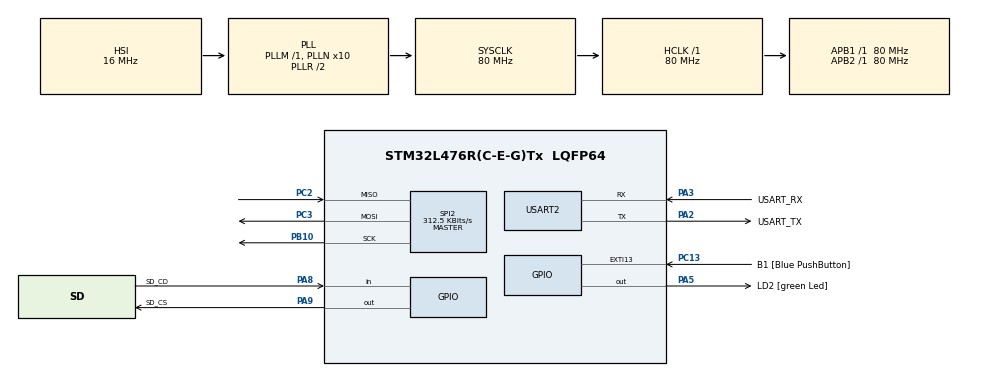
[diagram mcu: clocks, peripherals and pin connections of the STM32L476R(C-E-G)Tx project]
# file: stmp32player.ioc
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Mcu.Family=STM32L4
Mcu.Name=STM32L476R(C-E-G)Tx
Mcu.Package=LQFP64
NVIC.PriorityGroup=NVIC_PRIORITYGROUP_4
PA13\ (JTMS-SWDIO).GPIO_Label=TMS
PA13\ (JTMS-SWDIO).Mode=Serial_Wire
PA13\ (JTMS-SWDIO).Signal=SYS_JTMS-SWDIO
PA14\ (JTCK-SWCLK).GPIO_Label=TCK
PA14\ (JTCK-SWCLK).Mode=Serial_Wire
PA14\ (JTCK-SWCLK).Signal=SYS_JTCK-SWCLK
PA2.GPIO_Label=USART_TX
PA2.GPIO_Mode=GPIO_MODE_AF_PP
PA2.GPIO_PuPd=GPIO_NOPULL
PA2.GPIO_Speed=GPIO_SPEED_FREQ_VERY_HIGH
PA2.Mode=Asynchronous
PA2.Signal=USART2_TX
PA3.GPIO_Label=USART_RX
PA3.GPIO_Mode=GPIO_MODE_AF_PP
PA3.GPIO_PuPd=GPIO_NOPULL
PA3.GPIO_Speed=GPIO_SPEED_FREQ_VERY_HIGH
PA3.Mode=Asynchronous
PA3.Signal=USART2_RX
PA5.GPIO_Label=LD2 [green Led]
PA5.GPIO_ModeDefaultOutputPP=GPIO_MODE_OUTPUT_PP
PA5.GPIO_PuPd=GPIO_NOPULL
PA5.GPIO_Speed=GPIO_SPEED_FREQ_LOW
PA5.Signal=GPIO_Output
PA8.GPIO_Label=SD_CD
PA8.Signal=GPIO_Input
PA9.GPIO_Label=SD_CS
PA9.PinState=GPIO_PIN_SET
PA9.Signal=GPIO_Output
PB10.Mode=Full_Duplex_Master
PB10.Signal=SPI2_SCK
PB3\ (JTDO-TRACESWO).GPIO_Label=SWO
PB3\ (JTDO-TRACESWO).Signal=SYS_JTDO-SWO
PC13.GPIO_Label=B1 [Blue PushButton]
PC13.GPIO_ModeDefaultEXTI=GPIO_MODE_IT_FALLING
PC13.GPIO_PuPd=GPIO_NOPULL
PC13.Signal=GPXTI13
PC14-OSC32_IN\ (PC14).Mode=LSE-External-Oscillator
PC14-OSC32_IN\ (PC14).Signal=RCC_OSC32_IN
PC15-OSC32_OUT\ (PC15).Mode=LSE-External-Oscillator
PC15-OSC32_OUT\ (PC15).Signal=RCC_OSC32_OUT
PC2.Mode=Full_Duplex_Master
PC2.Signal=SPI2_MISO
PC3.Mode=Full_Duplex_Master
PC3.Signal=SPI2_MOSI
PH0-OSC_IN\ (PH0).Signal=RCC_OSC_IN
PH1-OSC_OUT\ (PH1).Signal=RCC_OSC_OUT
ProjectManager.HeapSize=0x200
ProjectManager.StackSize=0x400
ProjectManager.TargetToolchain=STM32CubeIDE
RCC.ADCFreq_Value=96000000
RCC.AHBFreq_Value=80000000
RCC.APB1Freq_Value=80000000
RCC.APB1TimFreq_Value=80000000
RCC.APB2Freq_Value=80000000
RCC.APB2TimFreq_Value=80000000
RCC.CortexFreq_Value=80000000
RCC.HCLKFreq_Value=80000000
RCC.HSE_VALUE=8000000
RCC.HSI_VALUE=16000000
RCC.MSI_VALUE=4000000
RCC.PLLN=10
RCC.PLLSAI1N=12
RCC.PLLSAI1Q=RCC_PLLQ_DIV4
RCC.PLLSourceVirtual=RCC_PLLSOURCE_HSI
RCC.PREFETCH_ENABLE=1
RCC.SYSCLKFreq_VALUE=80000000
RCC.SYSCLKSource=RCC_SYSCLKSOURCE_PLLCLK
RCC.USBFreq_Value=48000000
RCC.VCOOutputFreq_Value=160000000
SPI2.BaudRatePrescaler=SPI_BAUDRATEPRESCALER_256
SPI2.CalculateBaudRate=312.5 KBits/s
SPI2.DataSize=SPI_DATASIZE_8BIT
SPI2.Direction=SPI_DIRECTION_2LINES
SPI2.Mode=SPI_MODE_MASTER
SPI2.VirtualType=VM_MASTER
USART2.VirtualMode-Asynchronous=VM_ASYNC
VP_FATFS_VS_Generic.Mode=User_defined
board=NUCLEO-L476RG

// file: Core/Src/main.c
/* USER CODE BEGIN Header */
/**
  ******************************************************************************
  * @file           : main.c
  * @brief          : Main program body
  ******************************************************************************
  * @attention
  *
  * Copyright (c) 2026 STMicroelectronics.
  * All rights reserved.
  *
  * This software is licensed under terms that can be found in the LICENSE file
  * in the root directory of this software component.
  * If no LICENSE file comes with this software, it is provided AS-IS.
  *
  ******************************************************************************
  */
/* USER CODE END Header */
#include "main.h"
#include "fatfs.h"

/* USER CODE BEGIN Includes */
#include <string.h>
#include <stdio.h>
#include "utils.h"
#include "filesystem_handler.h"
/* USER CODE END Includes */

SPI_HandleTypeDef hspi2;

UART_HandleTypeDef huart2;

void SystemClock_Config(void);
static void MX_GPIO_Init(void);
static void MX_USART2_UART_Init(void);
static void MX_SPI2_Init(void);

/* USER CODE BEGIN 0 */
/* USER CODE BEGIN 2 */

/* USER CODE END 2 */
/* USER CODE END 0 */

int main(void)
{

  /* MCU Configuration--------------------------------------------------------*/

  /* Reset of all peripherals, Initializes the Flash interface and the Systick. */
  HAL_Init();

  /* Configure the system clock */
  SystemClock_Config();

  /* Initialize all configured peripherals */
  MX_GPIO_Init();
  MX_USART2_UART_Init();
  MX_FATFS_Init();
  MX_SPI2_Init();
  /* USER CODE BEGIN 2 */
  utils_init(&huart2);
  filesystem_handler_init();

  uart_printf("Lets mount some filesystem\r\n");
  // try to mount sd card and list files
  sd_ls();
  sd_head("test.txt", 128, false);
  sd_head("test.txt", 128, true);
  sd_head("metal_2.wav", 512, true);
  wav_metadata jazz_4_metadata;
  int read_success = get_wav_metadata("jazz_4.wav", &jazz_4_metadata);
  if (read_success == 0){
    dump_wav_metadata(&jazz_4_metadata);
  }

  /* USER CODE END 2 */

  /* Infinite loop */
  while (1)
  {

  }
}

void SystemClock_Config(void)
{
  RCC_OscInitTypeDef RCC_OscInitStruct = {0};
  RCC_ClkInitTypeDef RCC_ClkInitStruct = {0};

  /** Configure the main internal regulator output voltage
  */
  if (HAL_PWREx_ControlVoltageScaling(PWR_REGULATOR_VOLTAGE_SCALE1) != HAL_OK)
  {
    Error_Handler();
  }

  /** Initializes the RCC Oscillators according to the specified parameters
  * in the RCC_OscInitTypeDef structure.
  */
  RCC_OscInitStruct.OscillatorType = RCC_OSCILLATORTYPE_HSI;
  RCC_OscInitStruct.HSIState = RCC_HSI_ON;
  RCC_OscInitStruct.HSICalibrationValue = RCC_HSICALIBRATION_DEFAULT;
  RCC_OscInitStruct.PLL.PLLState = RCC_PLL_ON;
  RCC_OscInitStruct.PLL.PLLSource = RCC_PLLSOURCE_HSI;
  RCC_OscInitStruct.PLL.PLLM = 1;
  RCC_OscInitStruct.PLL.PLLN = 10;
  RCC_OscInitStruct.PLL.PLLP = RCC_PLLP_DIV7;
  RCC_OscInitStruct.PLL.PLLQ = RCC_PLLQ_DIV2;
  RCC_OscInitStruct.PLL.PLLR = RCC_PLLR_DIV2;
  if (HAL_RCC_OscConfig(&RCC_OscInitStruct) != HAL_OK)
  {
    Error_Handler();
  }

  /** Initializes the CPU, AHB and APB buses clocks
  */
  RCC_ClkInitStruct.ClockType = RCC_CLOCKTYPE_HCLK|RCC_CLOCKTYPE_SYSCLK
                              |RCC_CLOCKTYPE_PCLK1|RCC_CLOCKTYPE_PCLK2;
  RCC_ClkInitStruct.SYSCLKSource = RCC_SYSCLKSOURCE_PLLCLK;
  RCC_ClkInitStruct.AHBCLKDivider = RCC_SYSCLK_DIV1;
  RCC_ClkInitStruct.APB1CLKDivider = RCC_HCLK_DIV1;
  RCC_ClkInitStruct.APB2CLKDivider = RCC_HCLK_DIV1;

  if (HAL_RCC_ClockConfig(&RCC_ClkInitStruct, FLASH_LATENCY_4) != HAL_OK)
  {
    Error_Handler();
  }
}

static void MX_SPI2_Init(void)
{

  /* SPI2 parameter configuration*/
  hspi2.Instance = SPI2;
  hspi2.Init.Mode = SPI_MODE_MASTER;
  hspi2.Init.Direction = SPI_DIRECTION_2LINES;
  hspi2.Init.DataSize = SPI_DATASIZE_8BIT;
  hspi2.Init.CLKPolarity = SPI_POLARITY_LOW;
  hspi2.Init.CLKPhase = SPI_PHASE_1EDGE;
  hspi2.Init.NSS = SPI_NSS_SOFT;
  hspi2.Init.BaudRatePrescaler = SPI_BAUDRATEPRESCALER_256;
  hspi2.Init.FirstBit = SPI_FIRSTBIT_MSB;
  hspi2.Init.TIMode = SPI_TIMODE_DISABLE;
  hspi2.Init.CRCCalculation = SPI_CRCCALCULATION_DISABLE;
  hspi2.Init.CRCPolynomial = 7;
  hspi2.Init.CRCLength = SPI_CRC_LENGTH_DATASIZE;
  hspi2.Init.NSSPMode = SPI_NSS_PULSE_ENABLE;
  if (HAL_SPI_Init(&hspi2) != HAL_OK)
  {
    Error_Handler();
  }

}

static void MX_USART2_UART_Init(void)
{

  huart2.Instance = USART2;
  huart2.Init.BaudRate = 115200;
  huart2.Init.WordLength = UART_WORDLENGTH_8B;
  huart2.Init.StopBits = UART_STOPBITS_1;
  huart2.Init.Parity = UART_PARITY_NONE;
  huart2.Init.Mode = UART_MODE_TX_RX;
  huart2.Init.HwFlowCtl = UART_HWCONTROL_NONE;
  huart2.Init.OverSampling = UART_OVERSAMPLING_16;
  huart2.Init.OneBitSampling = UART_ONE_BIT_SAMPLE_DISABLE;
  huart2.AdvancedInit.AdvFeatureInit = UART_ADVFEATURE_NO_INIT;
  if (HAL_UART_Init(&huart2) != HAL_OK)
  {
    Error_Handler();
  }

}

static void MX_GPIO_Init(void)
{
  GPIO_InitTypeDef GPIO_InitStruct = {0};

  /* GPIO Ports Clock Enable */
  __HAL_RCC_GPIOC_CLK_ENABLE();
  __HAL_RCC_GPIOH_CLK_ENABLE();
  __HAL_RCC_GPIOA_CLK_ENABLE();
  __HAL_RCC_GPIOB_CLK_ENABLE();

  /*Configure GPIO pin Output Level */
  HAL_GPIO_WritePin(LD2_GPIO_Port, LD2_Pin, GPIO_PIN_RESET);

  /*Configure GPIO pin Output Level */
  HAL_GPIO_WritePin(SD_CS_GPIO_Port, SD_CS_Pin, GPIO_PIN_SET);

  /*Configure GPIO pin : B1_Pin */
  GPIO_InitStruct.Pin = B1_Pin;
  GPIO_InitStruct.Mode = GPIO_MODE_IT_FALLING;
  GPIO_InitStruct.Pull = GPIO_NOPULL;
  HAL_GPIO_Init(B1_GPIO_Port, &GPIO_InitStruct);

  /*Configure GPIO pins : LD2_Pin SD_CS_Pin */
  GPIO_InitStruct.Pin = LD2_Pin|SD_CS_Pin;
  GPIO_InitStruct.Mode = GPIO_MODE_OUTPUT_PP;
  GPIO_InitStruct.Pull = GPIO_NOPULL;
  GPIO_InitStruct.Speed = GPIO_SPEED_FREQ_LOW;
  HAL_GPIO_Init(GPIOA, &GPIO_InitStruct);

  /*Configure GPIO pin : SD_CD_Pin */
  GPIO_InitStruct.Pin = SD_CD_Pin;
  GPIO_InitStruct.Mode = GPIO_MODE_INPUT;
  GPIO_InitStruct.Pull = GPIO_NOPULL;
  HAL_GPIO_Init(SD_CD_GPIO_Port, &GPIO_InitStruct);

}

void Error_Handler(void)
{
  __disable_irq();
  while (1)
  {
  }
}
